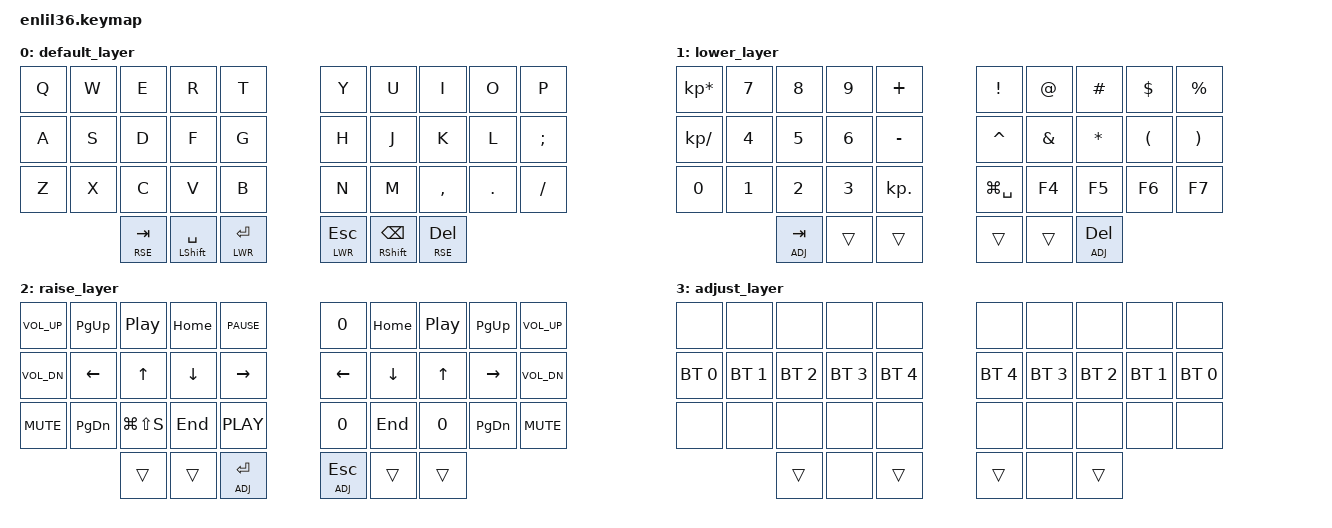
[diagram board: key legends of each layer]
/*
 * Copyright (c) 2020 The ZMK Contributors
 *
 * SPDX-License-Identifier: MIT
 */

#include <behaviors.dtsi>
#include <dt-bindings/zmk/keys.h>
#include <dt-bindings/zmk/bt.h>

#define DEF 0
#define LWR 1
#define RSE 2
#define ADJ 3

&lt { quick_tap_ms = <200>; };
&mt { quick_tap_ms = <200>; };

/ {
        keymap {
                compatible = "zmk,keymap";

                default_layer {
                        bindings = <
          &kp Q &kp W &kp E &kp R &kp T    &kp Y  &kp U  &kp I     &kp O   &kp P
          &kp A &kp S &kp D &kp F &kp G    &kp H  &kp J  &kp K     &kp L   &kp SEMI
          &kp Z &kp X &kp C &kp V &kp B    &kp N  &kp M  &kp COMMA &kp DOT &kp FSLH
&lt RSE TAB &mt LSHFT SPACE &lt LWR RET    &lt LWR ESC &mt RSHFT BSPC &lt RSE DEL
                        >;
		        };

                lower_layer {
                        bindings = <
&kp KP_MULTIPLY &kp N7 &kp N8 &kp N9 &kp PLUS       &kp EXCL      &kp AT   &kp HASH &kp DLLR &kp PRCNT
&kp KP_SLASH    &kp N4 &kp N5 &kp N6 &kp MINUS      &kp CARET     &kp AMPS &kp STAR &kp LPAR &kp RPAR
&kp N0          &kp N1 &kp N2 &kp N3 &kp KP_DOT     &kp LG(SPACE) &kp F4   &kp F5   &kp F6   &kp F7
                      &lt ADJ TAB &trans &trans     &trans &trans &lt ADJ DEL
                        >;
                };

                raise_layer {
                        bindings = <
&kp C_VOL_UP &kp PG_UP  &kp C_PP      &kp HOME &kp C_PAUSE     &kp N0   &kp HOME &kp C_PP &kp PG_UP &kp C_VOL_UP
&kp C_VOL_DN &kp LEFT   &kp UP        &kp DOWN &kp RIGHT       &kp LEFT &kp DOWN &kp UP   &kp RIGHT &kp C_VOL_DN
&kp C_MUTE   &kp PG_DN  &kp LG(LS(S)) &kp END  &kp C_PLAY      &kp N0   &kp END  &kp N0   &kp PG_DN &kp C_MUTE
                                 &trans &trans &lt ADJ RET     &lt ADJ ESC &trans &trans
                        >; 
                };
                adjust_layer {
                        bindings = <
&none        &none        &none        &none        &none            &none        &none        &none        &none        &none
&bt BT_SEL 0 &bt BT_SEL 1 &bt BT_SEL 2 &bt BT_SEL 3 &bt BT_SEL 4     &bt BT_SEL 4 &bt BT_SEL 3 &bt BT_SEL 2 &bt BT_SEL 1 &bt BT_SEL 0
&none        &none        &none        &none        &none            &none        &none        &none        &none        &none
                                             &trans &none &trans     &trans &none &trans
                        >;
                };
	};
};
